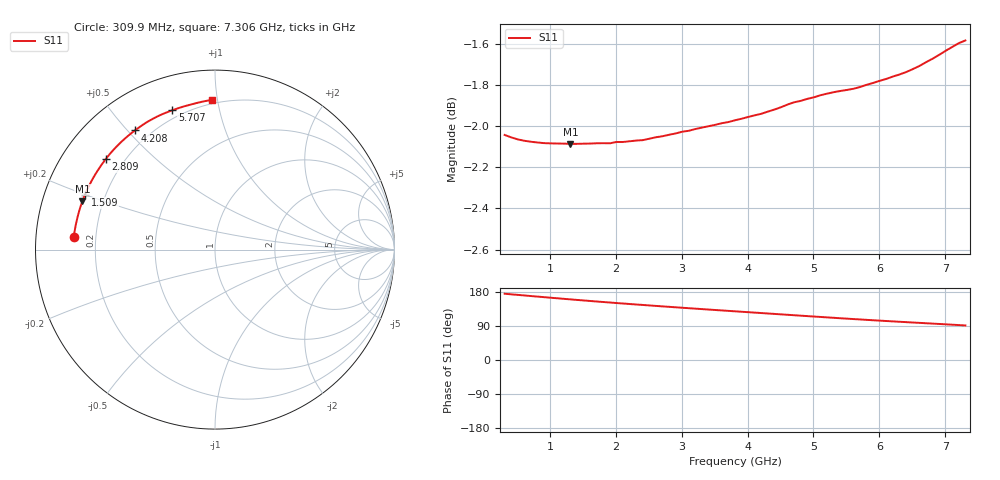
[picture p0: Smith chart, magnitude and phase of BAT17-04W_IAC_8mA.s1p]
! Infineon Technologies  Discrete & RF Semiconductors
! BAT17-04W
! IAC = 8 mA
! One-Port S-Parameters
# Hz  S  MA  R  50
!f  S11
!Hz  Mag  Ang
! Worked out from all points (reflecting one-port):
!   71 points, 309.9 MHz to 7.306 GHz, reference 50 ohm
!   lowest |S11| = -2.1 dB at 1.309 GHz (marker M1), VSWR 8.37, Z = 6.16 + j8.7 ohm
!   phase of S11 starts at 175 deg and turns -84 deg over the sweep
!   S11 on the Smith chart (normalised r, x): 309.9 MHz: 0.12, +0.04; 1.509 GHz: 0.12, +0.20; 2.809 GHz: 0.13, +0.36; 4.208 GHz: 0.14, +0.52; 5.707 GHz: 0.16, +0.73; 7.306 GHz: 0.18, +0.96
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3.0985e8  0.7904 174.9
6.097e8  0.7878 170.3
8.096e8  0.7871 167.3
1.0095e9  0.7867 164.3
1.2094e9  0.7866 161.4
1.30935e9  0.7864 160.0
1.50925e9  0.7865 157.1
1.8091e9  0.7868 153.0
2.009e9  0.7873 150.3
2.10895e9  0.7873 149.0
2.50875e9  0.7887 144.0
2.8086e9  0.7905 140.3
3.0085e9  0.7918 137.9
3.30835e9  0.7937 134.3
3.50825e9  0.7949 131.9
3.8081e9  0.7969 128.5
4.2079e9  0.7998 123.9
4.4078e9  0.8017 121.6
4.70765e9  0.805 118.1
4.90755e9  0.8065 115.8
5.2074e9  0.8089 112.4
5.4073e9  0.8101 110.2
5.6072e9  0.8111 108.0
5.70715e9  0.8119 107.0
6.007e9  0.8147 103.9
6.50675e9  0.82 99.0
7.0065e9  0.8285 94.1
7.30635e9  0.8333 91.1
